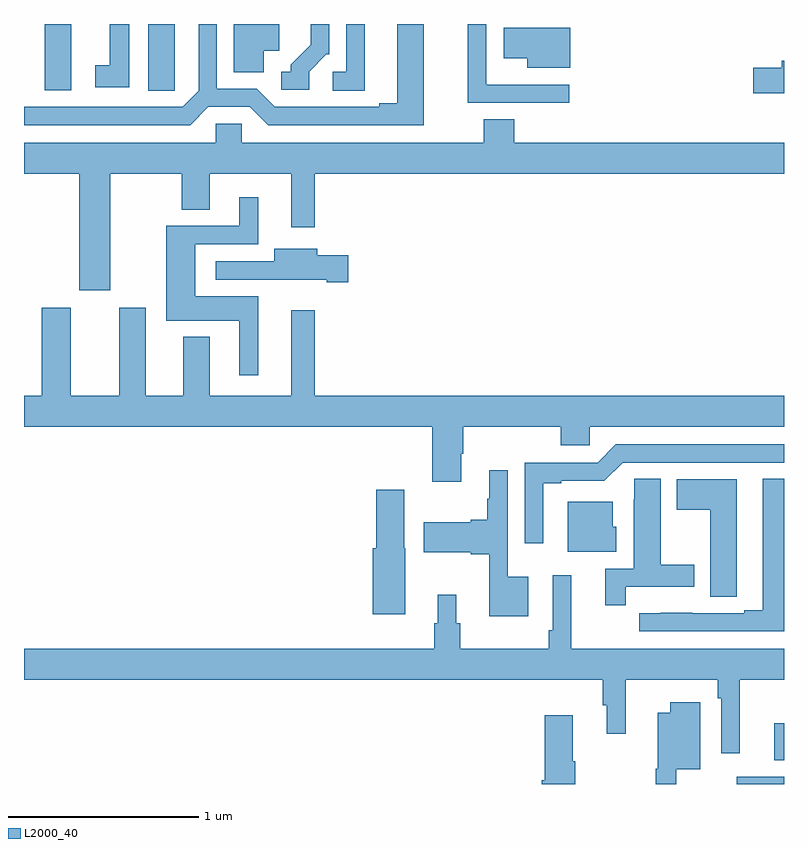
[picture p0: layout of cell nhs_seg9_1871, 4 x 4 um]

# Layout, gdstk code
import gdstk
lib = gdstk.Library(unit=1e-6, precision=1e-09)
def R(c, l, rs):  # rectangles x0, y0, x1, y1
    for r in rs: c.add(gdstk.rectangle(r[:2], r[2:], *l))
def P(c, l, *ps):  # polygons
    for p in ps: c.add(gdstk.Polygon(p, *l))
L2000_40 = (2000, 40)

nhs_seg9_1871 = lib.new_cell('nhs_seg9_1871')
R(nhs_seg9_1871, L2000_40, [(218.75,1234.5,219,1234.537), (218.948,1234.626,219,1234.819), (215.108,1238.151,215.248,1238.5)])
P(nhs_seg9_1871, L2000_40, [(215.793,1238.257),(215.794,1238.257),(215.794,1238.5),(215.654,1238.5),(215.654,1238.149),(215.793,1238.149)],
  [(217.87,1238.181),(217.436,1238.181),(217.436,1238.182),(217.434,1238.182),(217.434,1238.5),(217.336,1238.5),(217.336,1238.085),(217.87,1238.085)],
  [(216.793,1238.5),(216.696,1238.5),(216.696,1238.25),(216.624,1238.25),(216.624,1238.149),(216.793,1238.149)],
  [(216.262,1238.36),(216.343,1238.36),(216.343,1238.5),(216.104,1238.5),(216.104,1238.245),(216.262,1238.245)],
  [(216.501,1238.25),(216.591,1238.34),(216.606,1238.34),(216.606,1238.5),(216.509,1238.5),(216.509,1238.39),(216.404,1238.285),(216.404,1238.25),(216.354,1238.25),(216.354,1238.154),(216.501,1238.154)],
  [(215.554,1238.5),(215.45,1238.5),(215.45,1238.282),(215.376,1238.282),(215.376,1238.166),(215.554,1238.166)],
  [(215.971,1238.064),(216.189,1238.064),(216.285,1237.968),(217.105,1237.968),(217.105,1238.5),(216.965,1238.5),(216.965,1238.084),(216.869,1238.084),(216.869,1238.064),(216.321,1238.064),(216.225,1238.16),(216.015,1238.16),(216.015,1238.5),(215.919,1238.5),(215.919,1238.148),(215.835,1238.064),(215,1238.064),(215,1237.968),(215.875,1237.968)],
  [(217.876,1238.479),(217.524,1238.479),(217.524,1238.321),(217.649,1238.321),(217.649,1238.27),(217.876,1238.27)],
  [(219,1238.306),(218.987,1238.306),(218.987,1238.27),(218.838,1238.27),(218.838,1238.135),(219,1238.135)],
  [(215.455,1237.712),(215.83,1237.712),(215.83,1237.522),(215.977,1237.522),(215.977,1237.712),(216.407,1237.712),(216.407,1237.431),(216.529,1237.431),(216.529,1237.712),(219,1237.712),(219,1237.876),(217.58,1237.876),(217.58,1238),(217.42,1238),(217.42,1237.876),(216.147,1237.876),(216.147,1237.974),(216.009,1237.974),(216.009,1237.876),(215,1237.876),(215,1237.712),(215.291,1237.712),(215.291,1237.098),(215.455,1237.098)],
  [(216.232,1237.066),(215.902,1237.066),(215.902,1237.341),(216.232,1237.341),(216.232,1237.588),(216.134,1237.588),(216.134,1237.437),(215.749,1237.437),(215.749,1236.938),(216.134,1236.938),(216.134,1236.651),(216.232,1236.651)],
  [(216.706,1237.284),(216.544,1237.284),(216.544,1237.318),(216.317,1237.318),(216.317,1237.251),(216.009,1237.251),(216.009,1237.155),(216.321,1237.155),(216.321,1237.154),(216.593,1237.154),(216.593,1237.142),(216.706,1237.142)],
  [(217.3,1236.238),(217.313,1236.238),(217.313,1236.38),(217.826,1236.38),(217.826,1236.282),(217.977,1236.282),(217.977,1236.38),(219,1236.38),(219,1236.544),(216.529,1236.544),(216.529,1236.994),(216.407,1236.994),(216.407,1236.544),(215.977,1236.544),(215.977,1236.853),(215.837,1236.853),(215.837,1236.544),(215.641,1236.544),(215.641,1237.006),(215.501,1237.006),(215.501,1236.544),(215.245,1236.544),(215.245,1237.006),(215.093,1237.006),(215.093,1236.544),(215,1236.544),(215,1236.38),(217.148,1236.38),(217.148,1236.09),(217.3,1236.09)],
  [(217.732,1236.084),(217.828,1236.084),(217.828,1236.096),(218.055,1236.096),(218.151,1236.192),(219,1236.192),(219,1236.288),(218.115,1236.288),(218.019,1236.192),(217.635,1236.192),(217.635,1235.766),(217.732,1235.766)],
  [(217.654,1235.59),(217.545,1235.59),(217.545,1236.151),(217.448,1236.151),(217.448,1236.002),(217.437,1236.002),(217.437,1235.891),(217.352,1235.891),(217.352,1235.878),(217.104,1235.878),(217.104,1235.72),(217.352,1235.72),(217.352,1235.708),(217.448,1235.708),(217.448,1235.384),(217.654,1235.384)],
  [(219,1236.107),(218.888,1236.107),(218.888,1235.415),(218.792,1235.415),(218.792,1235.4),(218.516,1235.4),(218.516,1235.401),(218.35,1235.401),(218.35,1235.4),(218.238,1235.4),(218.238,1235.304),(219,1235.304)],
  [(218.168,1235.538),(218.527,1235.538),(218.527,1235.655),(218.35,1235.655),(218.35,1236.107),(218.211,1236.107),(218.211,1235.996),(218.21,1235.996),(218.21,1235.634),(218.06,1235.634),(218.06,1235.442),(218.168,1235.442)],
  [(218.751,1235.593),(218.752,1235.593),(218.752,1236.103),(218.435,1236.103),(218.435,1235.944),(218.612,1235.944),(218.612,1235.485),(218.751,1235.485)],
  [(217.006,1235.742),(217,1235.742),(217,1236.049),(216.854,1236.049),(216.854,1235.742),(216.836,1235.742),(216.836,1235.394),(217.006,1235.394)],
  [(218.116,1235.853),(218.098,1235.853),(218.098,1235.986),(217.862,1235.986),(217.862,1235.723),(218.116,1235.723)],
  [(218.768,1235.048),(219,1235.048),(219,1235.212),(217.88,1235.212),(217.88,1235.599),(217.782,1235.599),(217.782,1235.308),(217.762,1235.308),(217.762,1235.212),(217.295,1235.212),(217.295,1235.346),(217.276,1235.346),(217.276,1235.497),(217.178,1235.497),(217.178,1235.346),(217.159,1235.346),(217.159,1235.212),(215,1235.212),(215,1235.048),(218.047,1235.048),(218.047,1234.914),(218.066,1234.914),(218.066,1234.764),(218.166,1234.764),(218.166,1235.048),(218.65,1235.048),(218.65,1234.952),(218.67,1234.952),(218.67,1234.662),(218.768,1234.662)],
  [(218.433,1234.577),(218.56,1234.577),(218.56,1234.93),(218.402,1234.93),(218.402,1234.876),(218.336,1234.876),(218.336,1234.581),(218.325,1234.581),(218.325,1234.5),(218.433,1234.5)],
  [(217.902,1234.621),(217.888,1234.621),(217.888,1234.861),(217.742,1234.861),(217.742,1234.521),(217.724,1234.521),(217.724,1234.5),(217.902,1234.5)])

lib.write_gds('nhs_seg9_1871.gds')
